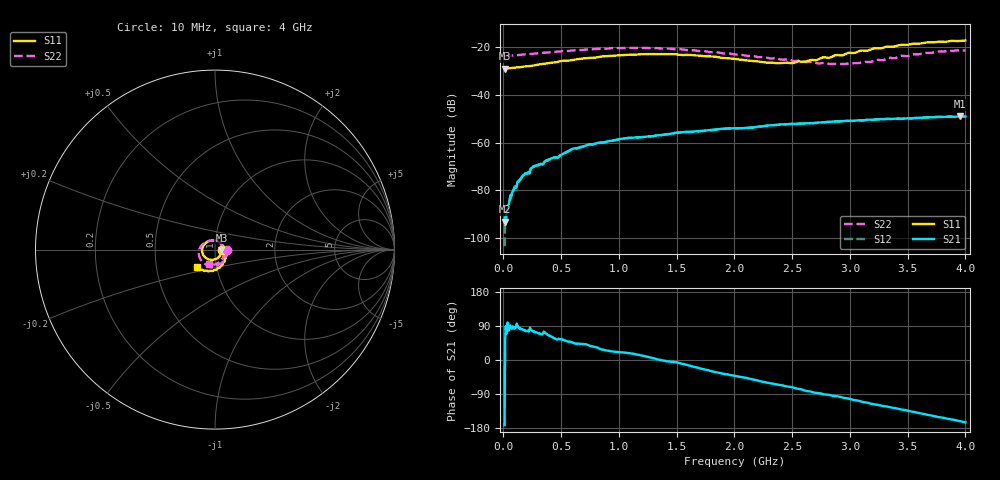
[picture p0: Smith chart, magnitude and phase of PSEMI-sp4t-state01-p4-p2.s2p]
! 5/5/2016 4:52:43 PM
! C:\ANRITSUVNA\DATA\PSEMI-SP4T-STATE01-P4-P2.S2P
! CHANNEL.1
! TR.MEASUREMENT
! CORRECTED.DATA
# GHZ S RI R 50.0
! FREQ.GHZ  S11RE  S11IM  S21RE  S21IM  S12RE  S12IM  S22RE  S22IM
!; PortSelection: Port_12
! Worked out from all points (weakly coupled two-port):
!   801 points, 10 MHz to 4 GHz, reference 50 ohm
!   highest |S21| = -48.92 dB at 3.955 GHz (marker M1); lowest = -93.1 dB at 10 MHz (marker M2)
!   lowest |S11| = -28.9 dB at 14.99 MHz (marker M3), VSWR 1.07, Z = 53.7 - j0.161 ohm
!   |S11| at or under -10 dB: start of sweep to end of sweep
!   |S22| runs from -27.0 to -20.2 dB; largest |S21 - S12| = 8.2e-05
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0.01  0.0362 -0.00196  -2.19e-05 -3.1e-06  2.4e-06 6.3e-06  0.0663 -0.00363
0.0149875  0.0359 -0.0015  1.58e-05 2.29e-05  3.4e-06 2.15e-05  0.0656 -0.00136
0.0648625  0.036 -0.00742  8e-06 7.54e-05  1.8e-06 6.94e-05  0.0668 -0.00785
0.0947875  0.036 -0.0108  6.3e-06 0.00011  1.43e-05 0.000114  0.067 -0.0124
0.1546375  0.0343 -0.0178  2.8e-05 0.000184  2.94e-05 0.000176  0.0665 -0.0226
0.259375  0.0292 -0.0297  7.6e-05 0.000304  8.28e-05 0.000307  0.0623 -0.0392
0.409  0.0187 -0.0438  0.000213 0.000413  0.000213 0.000409  0.0491 -0.0629
0.46885  0.0122 -0.0483  0.000294 0.000404  0.000275 0.000391  0.0415 -0.0698
0.5935375  -0.00142 -0.0542  0.000504 0.000535  0.000508 0.000517  0.0217 -0.0831
0.678325  -0.0111 -0.0569  0.000601 0.000554  0.000596 0.000544  0.00735 -0.0878
1.017475  -0.0502 -0.0465  0.00113 0.000413  0.00113 0.000409  -0.0541 -0.0805
1.341662  -0.0706 -0.0149  0.00144 2.72e-05  0.00142 4.79e-05  -0.0873 -0.0407
1.615975  -0.0673 0.0181  0.00163 -0.00044  0.00162 -0.000423  -0.0875 8.1e-06
2.005  -0.0289 0.0495  0.00151 -0.00135  0.00149 -0.00135  -0.0623 0.0343
2.379062  0.0227 0.0407  0.00101 -0.00217  0.000976 -0.00217  -0.0306 0.0492
2.673325  0.0541 0.00776  0.000246 -0.00256  0.00023 -0.00257  0.0025 0.0495
2.9626  0.0583 -0.0439  -0.000525 -0.00281  -0.000547 -0.00279  0.0364 0.0268
3.177062  0.0431 -0.0789  -0.00128 -0.00276  -0.00129 -0.0027  0.0494 -0.00286
3.336663  0.0277 -0.1011  -0.00178 -0.00265  -0.00178 -0.00259  0.052 -0.0309
3.765588  -0.0561 -0.1196  -0.00305 -0.00172  -0.00299 -0.00171  0.00221 -0.0825
3.955112  -0.0918 -0.1016  -0.0034 -0.00112  -0.00337 -0.00113  -0.0263 -0.083
4  -0.1005 -0.0976  -0.00343 -0.000979  -0.00339 -0.000982  -0.0342 -0.0795
